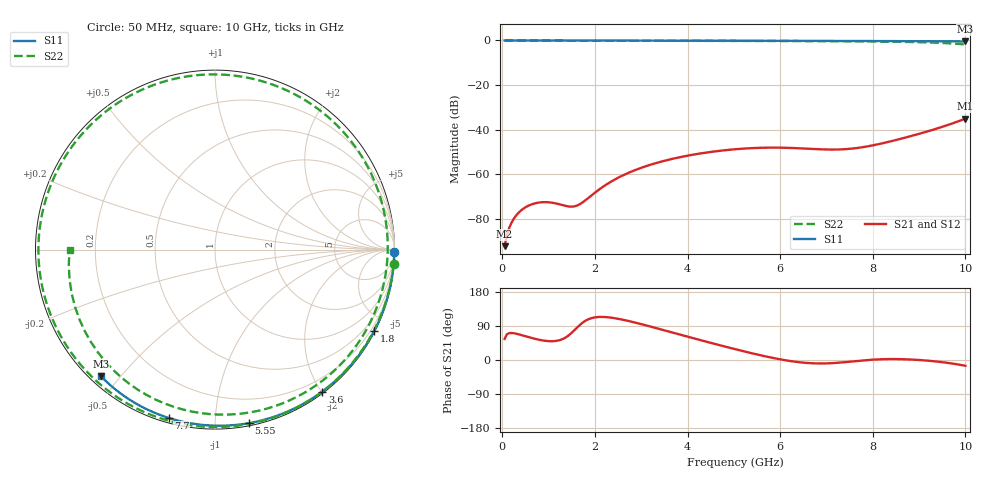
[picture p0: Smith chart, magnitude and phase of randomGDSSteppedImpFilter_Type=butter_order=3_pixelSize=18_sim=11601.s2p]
! freq	dB(S11)	phase(S11)	dB(S12)	phase(S12)
!  dB(S21)	phase(S21)	dB(S22)	phase(S22)
!S-par simulation data
#  GHz  S  DB  R 50
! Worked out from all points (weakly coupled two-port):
!   200 points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, 50 MHz to 10 GHz, reference 50 ohm
!   highest |S21| = -35.09 dB at 10 GHz (marker M1); lowest = -92.4 dB at 50 MHz (marker M2)
!   lowest |S11| = -0.4 dB at 10 GHz (marker M3), VSWR 38.91, Z = 1.54 - j22.3 ohm
!   |S11| at or under -10 dB: nowhere
!   |S22| runs from -1.8 to 0.0 dB; largest |S21 - S12| = 0
!   S11 on the Smith chart (normalised r, x): 50 MHz: open; 1.8 GHz: 0.04, -4.16; 3.6 GHz: 0.02, -2.01; 5.55 GHz: 0.02, -1.21; 7.7 GHz: 0.02, -0.76; 10 GHz: 0.03, -0.45
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0.05  -0.00 -0.7  -92.37 55.7  -92.37 55.7  -0.01 -4.7
0.25  -0.01 -3.8  -80.00 70.7  -80.00 70.7  -0.05 -22.9
0.5  -0.01 -7.6  -74.92 62.8  -74.92 62.8  -0.07 -44.8
0.85  -0.02 -12.9  -72.65 52.1  -72.65 52.1  -0.09 -73.1
1.25  -0.02 -18.9  -73.64 52.8  -73.64 52.8  -0.10 -101.5
1.55  -0.03 -23.3  -74.53 77.9  -74.53 77.9  -0.11 -120.1
1.75  -0.03 -26.3  -72.49 99.9  -72.49 99.9  -0.12 -131.5
1.8  -0.03 -27.0  -71.70 103.8  -71.70 103.8  -0.12 -134.2
2.55  -0.05 -38.0  -61.13 107.6  -61.13 107.6  -0.14 -170.5
3.4  -0.07 -50.1  -54.58 81.7  -54.58 81.7  -0.15 154.1
3.6  -0.07 -52.9  -53.51 75.0  -53.51 75.0  -0.16 146.2
4.35  -0.09 -63.2  -50.51 50.1  -50.51 50.1  -0.18 116.9
5.05  -0.11 -72.5  -48.81 27.9  -48.81 27.9  -0.21 89.1
5.55  -0.13 -79.0  -48.21 13.2  -48.21 13.2  -0.23 68.7
6.7  -0.18 -93.4  -48.72 -8.7  -48.72 -8.7  -0.30 19.3
7.2  -0.21 -99.5  -48.98 -7.7  -48.98 -7.7  -0.34 -3.3
7.7  -0.24 -105.4  -48.18 -2.0  -48.18 -2.0  -0.40 -26.5
8.35  -0.29 -113.1  -45.48 2.5  -45.48 2.5  -0.54 -58.5
8.85  -0.33 -118.8  -42.79 1.1  -42.79 1.1  -0.71 -85.9
9.25  -0.37 -123.4  -40.41 -2.4  -40.41 -2.4  -0.93 -111.4
9.6  -0.40 -127.4  -38.11 -7.3  -38.11 -7.3  -1.23 -138.8
10  -0.45 -131.9  -35.09 -15.4  -35.09 -15.4  -1.82 -179.7
